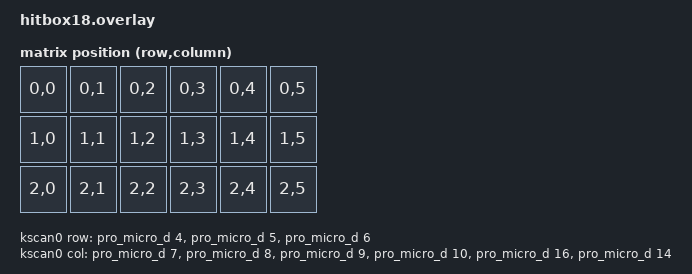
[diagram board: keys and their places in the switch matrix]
/ {
    chosen {
        zmk,kscan = &kscan0;
        zmk,matrix-transform = &default_transform;
    };

    kscan0: kscan {
        compatible = "zmk,kscan-gpio-matrix";
        row-gpios
            = <&pro_micro_d 4 GPIO_ACTIVE_HIGH>
            , <&pro_micro_d 5 GPIO_ACTIVE_HIGH>
            , <&pro_micro_d 6 GPIO_ACTIVE_HIGH>
            ;
        col-gpios
            = <&pro_micro_d 7  GPIO_ACTIVE_HIGH>
            , <&pro_micro_d 8  GPIO_ACTIVE_HIGH>
            , <&pro_micro_d 9  GPIO_ACTIVE_HIGH>
            , <&pro_micro_d 10 GPIO_ACTIVE_HIGH>
            , <&pro_micro_d 16 GPIO_ACTIVE_HIGH>
            , <&pro_micro_d 14 GPIO_ACTIVE_HIGH>
            ;
    };

    default_transform: matrix_transform {
        compatible = "zmk,matrix-transform";
        rows = <3>;
        columns = <6>;
        map = <
            RC(0,0) RC(0,1) RC(0,2) RC(0,3) RC(0,4) RC(0,5)
            RC(1,0) RC(1,1) RC(1,2) RC(1,3) RC(1,4) RC(1,5)
            RC(2,0) RC(2,1) RC(2,2) RC(2,3) RC(2,4) RC(2,5)
        >;
    };
};

/* ESB 通信地址 —— 主控与 Dongle 必须完全一致 */
/ {
    esb_split {
        compatible = "zmk,esb-split";
        base-addr-0 = <0xE7 0xE7 0xE7 0xE7>;
        base-addr-1 = <0xC2 0xC2 0xC2 0xC2>;
        addr-prefix = <0xE7>;
    };
};
